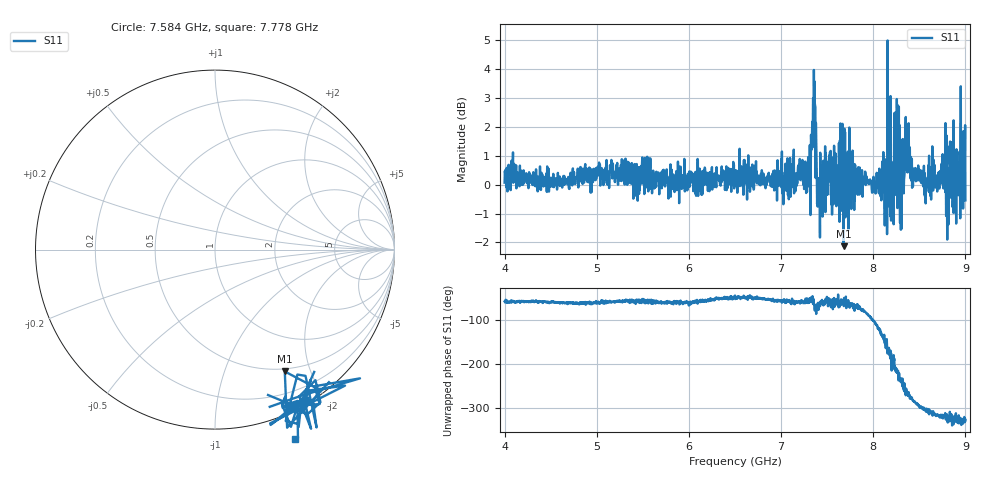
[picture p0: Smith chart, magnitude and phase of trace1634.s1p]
! Created with skrf 1.8.0 (http://scikit-rf.org).
# Hz S RI R 50.0
!freq ReS11 ImS11
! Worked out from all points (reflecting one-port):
!   1601 points, 4 GHz to 9 GHz, reference 50 ohm
!   lowest |S11| = -2.1 dB at 7.678 GHz (marker M1), VSWR 8.19, Z = 23.2 - j81.4 ohm
!   phase of S11 starts at -57 deg and turns -270 deg over the sweep
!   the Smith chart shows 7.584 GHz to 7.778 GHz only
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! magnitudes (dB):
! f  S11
! 4 GHz  0.1
! 4.625 GHz  -0.1
! 5.25 GHz  0.1
! 5.875 GHz  0.3
! 6.5 GHz  0.3
! 7.125 GHz  -0.1
! 7.297 GHz  0.6
! 7.356 GHz  4.0
! 7.412 GHz  -0.3
! 7.512 GHz  0.6
! 7.609 GHz  -0.3
! 7.662 GHz  -0.2
! 7.678 GHz  -2.1
! 7.75 GHz  -0.3
! 8.081 GHz  -0.4
! 8.162 GHz  0.1
! 8.209 GHz  -0.4
! 8.253 GHz  0.4
! 8.312 GHz  1.1
! 8.334 GHz  0.2
! 8.375 GHz  0.4
! 8.431 GHz  -0.1
! 8.556 GHz  -0.3
! 8.8 GHz  -0.1
! 8.853 GHz  1.4
! 8.919 GHz  -0.3
! 8.972 GHz  0.9
! 9 GHz  -0.5
